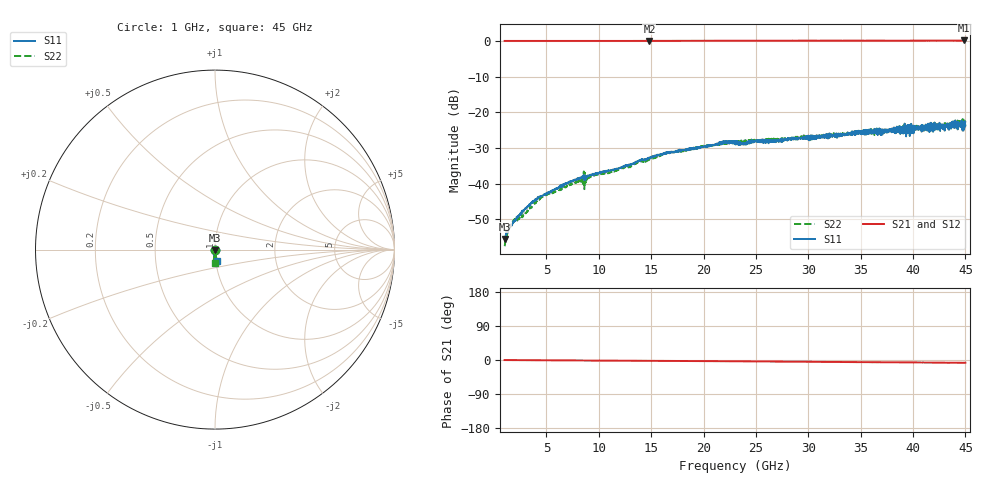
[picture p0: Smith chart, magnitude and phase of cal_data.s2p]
!Keysight Technologies,N5247B,MY61255062,A.19.80.06
!Date: Thursday, May 21, 2026 11:22:13
!Correction: S11(C  2-Port  )
!S21(C  2-Port  )
!S12(C  2-Port  )
!S22(C  2-Port  )
!S2P File: Measurements: S11, S21, S12, S22:
# Hz S  dB  R 50
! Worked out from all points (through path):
!   1601 points, 1 GHz to 45 GHz, reference 50 ohm
!   highest |S21| = 0.14 dB at 44.84 GHz (marker M1); lowest = 0.0 dB at 14.83 GHz (marker M2)
!   group delay of S21, straight-line fit = 454 fs
!   lowest |S11| = -55.5 dB at 1.028 GHz (marker M3), VSWR 1.00, Z = 50.1 - j0.157 ohm
!   |S11| at or under -10 dB: start of sweep to end of sweep
!   |S22| runs from -57.5 to -22.0 dB; largest |S21 - S12| = 0.0089
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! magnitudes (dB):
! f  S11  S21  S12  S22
! 1 GHz  -55.4  0.0  0.0  -57.5
! 1.028 GHz  -55.5  0.0  0.0  -57.3
! 1.468 GHz  -51.7  0.0  0.0  -52.4
! 1.825 GHz  -50.9  0.0  0.0  -50.6
! 2.815 GHz  -47.8  0.0  0.0  -48.7
! 4.41 GHz  -43.5  0.0  0.0  -44.2
! 8.342 GHz  -38.5  0.0  0.0  -39.3
! 11.92 GHz  -35.8  0.0  0.0  -36.1
! 12.96 GHz  -34.6  0.0  0.0  -35.3
! 13.9 GHz  -33.4  0.0  0.0  -33.9
! 14.83 GHz  -32.7  0.0  0.0  -33.2
! 15.69 GHz  -32.0  0.0  0.0  -32.4
! 16.7 GHz  -31.2  0.0  0.0  -31.4
! 21.87 GHz  -28.6  0.0  0.0  -28.5
! 23 GHz  -28.1  0.1  0.1  -28.4
! 23.8 GHz  -28.7  0.1  0.1  -28.0
! 24.9 GHz  -28.1  0.1  0.1  -28.0
! 27.07 GHz  -28.0  0.1  0.1  -27.7
! 30.34 GHz  -26.8  0.1  0.1  -26.7
! 37.69 GHz  -25.4  0.1  0.1  -25.2
! 44.84 GHz  -23.3  0.1  0.1  -23.4
! 45 GHz  -23.7  0.1  0.1  -22.9
